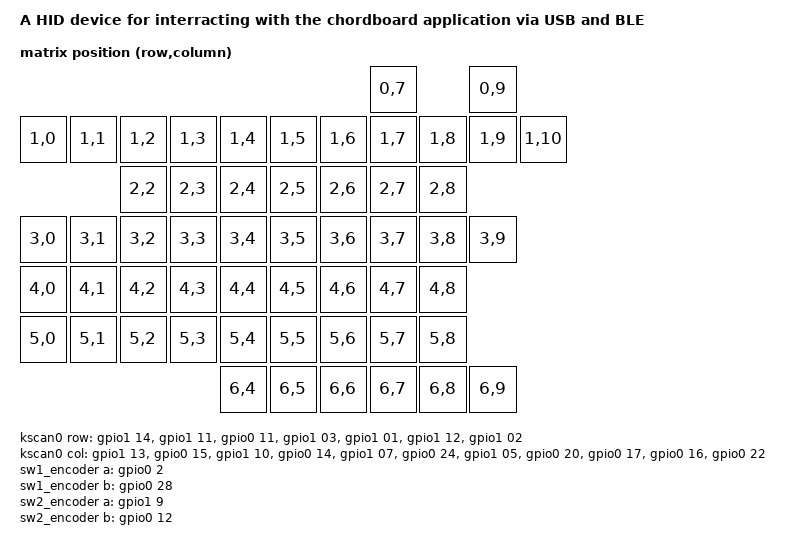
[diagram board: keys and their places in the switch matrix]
/dts-v1/;

#include <nordic/nrf52840_qiaa.dtsi>
#include <nordic/nrf52840.dtsi>
#include <common/nordic/nrf52840_uf2_boot_mode.dtsi>

#include <dt-bindings/zmk/matrix_transform.h>
#include <layouts/common/ortho_4x12/all1u.dtsi>

/ {
    model = "A HID device for interracting with the chordboard application via USB and BLE";
    compatible = "chordboard,cbc", "nordic,nrf52840";

    chosen {
        zephyr,sram = &sram0;
        zephyr,flash = &flash;
        zephyr,udc = &usbd;
        zephyr,code-partition = &slot0_partition;
        zmk,kscan = &kscan0;
        zmk,backlight = &backlight;
        zmk,physical-layout = &layout_ortho_4x12_all1u;
        zmk,battery = &vbatt;
    };

    vbatt: vbatt {
        compatible = "zmk,battery-voltage-divider";
        io-channels = <&adc 2>;
        output-ohms = <2000000>;
        full-ohms = <(2000000 + 820000)>;
    };

    kscan0: kscan {
        compatible = "zmk,kscan-gpio-matrix";
        wakeup-source;
        diode-direction = "col2row";
        row-gpios
            = <&gpio1 14 (GPIO_ACTIVE_HIGH | GPIO_PULL_DOWN)>
            , <&gpio1 11 (GPIO_ACTIVE_HIGH | GPIO_PULL_DOWN)>
            , <&gpio0 11 (GPIO_ACTIVE_HIGH | GPIO_PULL_DOWN)>
            , <&gpio1 03 (GPIO_ACTIVE_HIGH | GPIO_PULL_DOWN)>
            , <&gpio1 01 (GPIO_ACTIVE_HIGH | GPIO_PULL_DOWN)>
            , <&gpio1 12 (GPIO_ACTIVE_HIGH | GPIO_PULL_DOWN)>
            , <&gpio1 02 (GPIO_ACTIVE_HIGH | GPIO_PULL_DOWN)>
            ;
        col-gpios
            = <&gpio1 13 GPIO_ACTIVE_HIGH>
            , <&gpio0 15 GPIO_ACTIVE_HIGH>
            , <&gpio1 10 GPIO_ACTIVE_HIGH>
            , <&gpio0 14 GPIO_ACTIVE_HIGH>
            , <&gpio1 07 GPIO_ACTIVE_HIGH>
            , <&gpio0 24 GPIO_ACTIVE_HIGH>
            , <&gpio1 05 GPIO_ACTIVE_HIGH>
            , <&gpio0 20 GPIO_ACTIVE_HIGH>
            , <&gpio0 17 GPIO_ACTIVE_HIGH>
            , <&gpio0 16 GPIO_ACTIVE_HIGH>
            , <&gpio0 22 GPIO_ACTIVE_HIGH>
            ;
    };

    layout_grid_transform: keymap_transform_0 {    
        compatible = "zmk,matrix-transform";
        rows = <7>;
        columns = <11>;
        map = <
                                                                          RC(0,7)           RC(0,9)   
            RC(1,0)  RC(1,1)  RC(1,2)  RC(1,3)  RC(1,4)  RC(1,5)  RC(1,6) RC(1,7)  RC(1,8)  RC(1,9)  RC(1,10)
                              RC(2,2)  RC(2,3)  RC(2,4)  RC(2,5)  RC(2,6) RC(2,7)  RC(2,8)    
            RC(3,0)  RC(3,1)  RC(3,2)  RC(3,3)  RC(3,4)  RC(3,5)  RC(3,6) RC(3,7)  RC(3,8)  RC(3,9)  
            RC(4,0)  RC(4,1)  RC(4,2)  RC(4,3)  RC(4,4)  RC(4,5)  RC(4,6) RC(4,7)  RC(4,8)   
            RC(5,0)  RC(5,1)  RC(5,2)  RC(5,3)  RC(5,4)  RC(5,5)  RC(5,6) RC(5,7)  RC(5,8)    
                                                RC(6,4)  RC(6,5)  RC(6,6) RC(6,7)  RC(6,8)  RC(6,9)  
        >;
    };

    sw1_encoder: encoder_sw1 {
        compatible = "alps,ec11";
        a-gpios = <&gpio0 2 (GPIO_ACTIVE_HIGH | GPIO_PULL_UP)>;
        b-gpios = <&gpio0 28 (GPIO_ACTIVE_HIGH | GPIO_PULL_UP)>;
        steps = <18>;
        status = "enabled";
    };

    sw2_encoder: encoder_sw2 {
        compatible = "alps,ec11";
        a-gpios = <&gpio1 9 (GPIO_ACTIVE_HIGH | GPIO_PULL_UP)>;
        b-gpios = <&gpio0 12 (GPIO_ACTIVE_HIGH | GPIO_PULL_UP)>;
        steps = <18>;
        status = "enabled";
    };

    sw3_encoder: encoder_sw3 {
        compatible = "alps,ec11";
        a-gpios = <&gpio0 23 (GPIO_ACTIVE_HIGH | GPIO_PULL_UP)>;
        b-gpios = <&gpio0 21 (GPIO_ACTIVE_HIGH | GPIO_PULL_UP)>;
        steps = <18>;
        status = "enabled";
    };

    sw4_encoder: encoder_sw4 {
        compatible = "alps,ec11";
        a-gpios = <&gpio0 26 (GPIO_ACTIVE_HIGH | GPIO_PULL_UP)>;
        b-gpios = <&gpio0 6 (GPIO_ACTIVE_HIGH | GPIO_PULL_UP)>;
        steps = <18>;
        status = "enabled";
    };

    sw5_encoder: encoder_sw5 {
        compatible = "alps,ec11";
        a-gpios = <&gpio0 8 (GPIO_ACTIVE_HIGH | GPIO_PULL_UP)>;
        b-gpios = <&gpio0 27 (GPIO_ACTIVE_HIGH | GPIO_PULL_UP)>;
        steps = <18>;
        status = "enabled";
    };

    sensors: sensors {
        compatible = "zmk,keymap-sensors";
        sensors = <&sw1_encoder &sw2_encoder &sw3_encoder &sw4_encoder &sw5_encoder>;
        triggers-per-rotation = <2>;
    };
};

&adc {
    status = "okay";
};

&gpio0 {
    status = "okay";
};

&gpio1 {
    status = "okay";
};

&gpiote {
    status = "okay";
};

&usbd {
    compatible = "nordic,nrf-usbd";
    status = "okay";
};

zephyr_udc0: &usbd {};

&sw1_encoder {
    status = "okay";
};

&sw2_encoder {
    status = "okay";
};

&sw3_encoder {
    status = "okay";
};

&sw4_encoder {
    status = "okay";
};

&sw5_encoder {
    status = "okay";
};

&layout_ortho_4x12_all1u {
    transform = <&layout_grid_transform>;
};


&i2c0 {
    status = "okay";
    scl-pin = <&gpio0 5>;
    sda-pin = <&gpio0 7>;

    is31fl3733_drv1: is31fl3733_drv1@50 {
        compatible = "issi,is31fl3733";
        status = "okay";
        reg = <0x50>;
        issi,sdb-gpios = <&gpio0 19 GPIO_ACTIVE_LOW>;
        issi,shutdown-current = <IS31FL3733_SSD_1UA>;
        issi,current-limit = <IS31FL3733_CS_10MA>;
        sync-mode = "slave";
        #address-cells = <1>;
        #size-cells = <0>;

        blue1@0 {
            reg = <0>;
            issi,pwm-register = <0x00>;
        };

        red1@1 {
            reg = <1>;
            issi,pwm-register = <0x01>;
        };

        green1@2 {
            reg = <2>;
            issi,pwm-register = <0x02>;
        };

        blue2@3 {
            reg = <3>;
            issi,pwm-register = <0x03>;
        };

        green2@4 {
            reg = <4>;
            issi,pwm-register = <0x04>;
        };

        red2@5 {
            reg = <5>;
            issi,pwm-register = <0x05>;
        };


        blue3@6 {
            reg = <6>;
            issi,pwm-register = <0x06>;
        };

        green3@7 {
            reg = <7>;
            issi,pwm-register = <0x07>;
        };

        red3@8 {
            reg = <8>;
            issi,pwm-register = <0x08>;
        };
    };
};

&i2c1 {
    status = "okay";
    scl-pin = <&gpio0 4>;
    sda-pin = <&gpio0 31>;

    is31fl3733_drv2: is31fl373_drv2@50 {
        compatible = "issi,is31fl3733";
        status = "okay";
        reg = <0x50>;
        issi,sdb-gpios = <&gpio0 19 GPIO_ACTIVE_LOW>;
        issi,shutdown-current = <IS31FL3733_SSD_1UA>;
        issi,current-limit = <IS31FL3733_CS_10MA>;
        sync-mode = "slave";
        #address-cells = <1>;
        #size-cells = <0>;

        blue4@0 {
            reg = <0>;
            issi,pwm-register = <0x00>;
        };

        red4@1 {
            reg = <1>;
            issi,pwm-register = <0x01>;
        };

        green4@2 {
            reg = <2>;
            issi,pwm-register = <0x02>;
        };

        blue5@3 {
            reg = <3>;
            issi,pwm-register = <0x03>;
        };

        green5@4 {
            reg = <4>;
            issi,pwm-register = <0x04>;
        };

        red5@5 {
            reg = <5>;
            issi,pwm-register = <0x05>;
        };


        blue6@6 {
            reg = <6>;
            issi,pwm-register = <0x06>;
        };

        green6@7 {
            reg = <7>;
            issi,pwm-register = <0x07>;
        };

        red6@8 {
            reg = <8>;
            issi,pwm-register = <0x08>;
        };
    };
};

&flash0 {
	partitions {
		compatible = "fixed-partitions";
		#address-cells = <1>;
		#size-cells = <1>;

		boot_partition: partition@0 {
			label = "mcuboot";
			reg = <0x00000000 DT_SIZE_K(48)>;
		};

		slot0_partition: partition@c000 {
			label = "image-0";
			reg = <0x0000c000 DT_SIZE_K(472)>;
		};

		slot1_partition: partition@82000 {
			label = "image-1";
			reg = <0x00082000 DT_SIZE_K(472)>;
		};

		storage_partition: partition@f8000 {
			label = "storage";
			reg = <0x000f8000 DT_SIZE_K(32)>;
		};
	};
};
